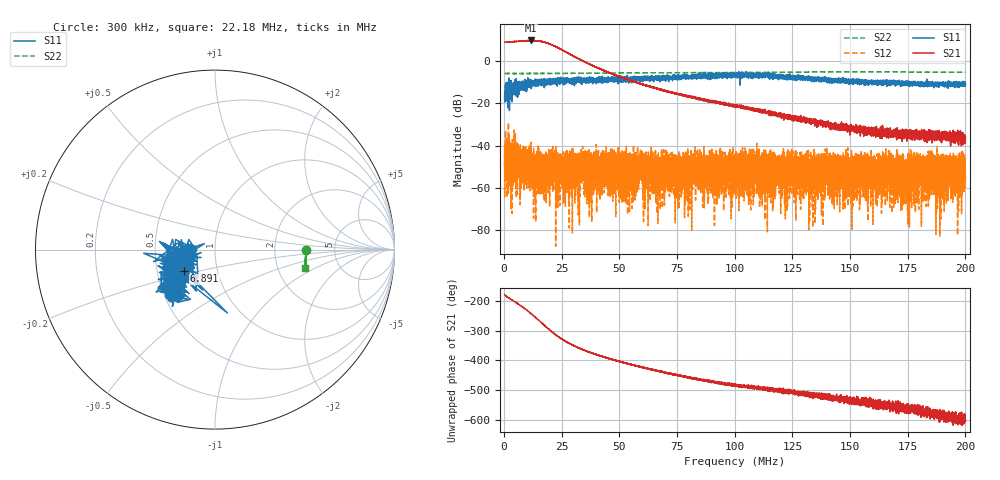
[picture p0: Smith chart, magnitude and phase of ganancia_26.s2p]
# Hz S DB R 50
! CMT, M5065, 19127446, 24.2.4/2
! Date: 11/8/2024 5:08:49 PM
! Data: Format (Calibration Info)
! Freq	S11:dB/Ang(F2)	S21:dB/Ang(F2)	S12:dB/Ang(F2)	S22:dB/Ang(F2)
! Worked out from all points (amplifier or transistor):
!   9000 points, 300 kHz to 200 MHz, reference 50 ohm
!   highest |S21| = 9.8 dB at 11.62 MHz (marker M1)
!   |S21| within 3 dB of that: start of sweep to 22.48 MHz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
!   unconditionally stable (mu >= 1): start of sweep to end of sweep
!   at 33.59 MHz: K = 51.69, MAG = 2.3 dB, |S12| = -44.4 dB
!   at 100.2 MHz: K = 1852.95, MAG = -18.4 dB, |S12| = -55.7 dB
!   at 200 MHz: K = 11043.08, MAG = -34.2 dB, |S12| = -54.6 dB
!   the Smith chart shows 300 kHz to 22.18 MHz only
!   S11 on the Smith chart (normalised r, x): 300 kHz: 0.77, +0.01; 6.891 MHz: 0.69, -0.17; 22.18 MHz: 0.56, -0.30
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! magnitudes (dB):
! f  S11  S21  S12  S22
! 300 kHz  -17.8  9.0  -49.9  -5.9
! 1.365 MHz  -13.5  9.1  -44.6  -5.9
! 6.891 MHz  -13.6  9.4  -43.2  -5.9
! 11.62 MHz  -8.8  9.8  -40.5  -5.9
! 22.18 MHz  -9.4  6.9  -45.0  -5.8
! 33.59 MHz  -9.3  0.4  -44.4  -5.8
! 56.67 MHz  -7.9  -9.9  -43.3  -5.6
! 58.91 MHz  -8.5  -10.6  -48.7  -5.6
! 66.87 MHz  -6.9  -13.1  -52.6  -5.5
! 100.2 MHz  -6.1  -21.1  -55.7  -5.4
! 121.7 MHz  -7.5  -26.9  -51.3  -5.3
! 124.5 MHz  -8.0  -27.1  -47.3  -5.2
! 133.4 MHz  -7.6  -29.2  -51.5  -5.2
! 137.3 MHz  -8.7  -29.6  -53.3  -5.1
! 149.4 MHz  -9.0  -30.9  -54.1  -5.1
! 166.7 MHz  -10.0  -33.9  -44.7  -5.1
! 169.1 MHz  -10.2  -32.7  -57.8  -5.1
! 185.5 MHz  -10.8  -34.1  -53.8  -5.2
! 187.1 MHz  -10.6  -36.4  -54.2  -5.2
! 189.4 MHz  -10.0  -34.0  -47.8  -5.2
! 198.1 MHz  -10.9  -35.0  -51.6  -5.3
! 200 MHz  -10.6  -36.2  -54.6  -5.3
